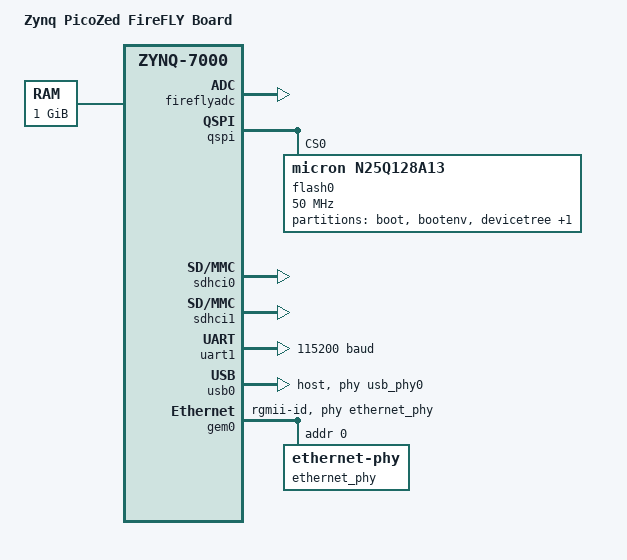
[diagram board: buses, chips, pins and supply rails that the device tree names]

/dts-v1/;
#include "zynq-7000.dtsi"


/ {
   cpus {
      cpu@0 {
         operating-points = <666666 1000000 333333 1000000>;
      };
   };
};
&gpio0 {
   emio-gpio-width = <64>;
   gpio-mask-high = <0x0>;
   gpio-mask-low = <0x5600>;
};
&intc {
   num_cpus = <2>;
   num_interrupts = <96>;
};
&qspi {
   is-dual = <0>;
   num-cs = <1>;
   status = "okay";
};
&sdhci0 {
   clock-frequency = <50000000>;
   status = "okay";
};
&sdhci1 {
   clock-frequency = <50000000>;
   status = "okay";
};
&uart1 {
   current-speed = <115200>;
   device_type = "serial";
   port-number = <0>;
   status = "okay";
};
&usb0 {
   status = "okay";
   dr_mode = "host";
   usb-phy = <&usb_phy0>;
};

/ {
usb_phy0: usb-phy {
   compatible = "usb-nop-xceiv";
   #phy-cells = <0>;
   reg = <0xe0002000 0x1000>;
   viewport = <0x170>;
   drv-vbus;
};
};

&clkc {
   fclk-enable = <0xf>;
   ps-clk-frequency = <33333333>;
};


/ {
   model = "Zynq PicoZed FireFLY Board";
   aliases {
      ethernet0 = &gem0;
      serial0 = &uart1;
      spi0 = &qspi;
   };
   chosen {
      bootargs = "console=ttyPS0,115200 earlyprintk";
   };
   memory {
      device_type = "memory";
      reg = <0x0 0x40000000>;
   };

};

&gem0 {
   local-mac-address = [00 0a 35 00 28 0b];
};

&qspi {
   #address-cells = <1>;
   #size-cells = <0>;
   flash0: flash@0 {
      compatible = "micron,n25q128a13";
      reg = <0x0>;
      #address-cells = <1>;
      #size-cells = <1>;
      spi-max-frequency = <50000000>;
      partition@0x00000000 {
         label = "boot";
         reg = <0x00000000 0x00380000>;
      };
      partition@0x00380000 {
         label = "bootenv";
         reg = <0x00380000 0x00080000>;
      };
      partition@0x00400000 {
         label = "devicetree";
         reg = <0x00400000 0x00400000>;
      };
      partition@0x00800000 {
         label = "kernel";
         reg = <0x00800000 0x00800000>;
      };
   };
};


&gem0 {
   status = "okay";
   phy-mode = "rgmii-id";
   phy-handle = <&ethernet_phy>;

   ethernet_phy: ethernet-phy@0 {
      reg = <0>;
   };
};

/ {
   amba_pl: amba_pl {
      #address-cells = <1>;
      #size-cells = <1>;
      compatible = "simple-bus";
      ranges ;
      SYS_Control_0: SYS_Control@43c00000 {
         compatible = "xlnx,SYS-Control-1.0";
         reg = <0x43c00000 0x10000>;
         xlnx,s00-axi-addr-width = <0x7>;
         xlnx,s00-axi-data-width = <0x20>;
      };
      axi_dma_adc_1: dma@40400000 {
         #dma-cells = <1>;
         compatible = "xlnx,axi-dma-1.00.a";
         interrupt-parent = <&intc>;
         interrupts = <0 29 4>;
         reg = <0x40400000 0x10000>;
         dma-channel@40400030 {
            compatible = "xlnx,axi-dma-s2mm-channel";
            dma-channels = <0x1>;
            interrupts = <0 29 4>;
            xlnx,datawidth = <0x100>;
            xlnx,device-id = <0x0>;
         };
      };
      axi_dma_adc_2: dma@40410000 {
         #dma-cells = <1>;
         compatible = "xlnx,axi-dma-1.00.a";
         interrupt-parent = <&intc>;
         interrupts = <0 30 4>;
         reg = <0x40410000 0x10000>;
         dma-channel@40410030 {
            compatible = "xlnx,axi-dma-s2mm-channel";
            dma-channels = <0x1>;
            interrupts = <0 30 4>;
            xlnx,datawidth = <0x200>;
            xlnx,device-id = <0x1>;
         };
      };
      fireflyadc: fireflyadc@0 {
         compatible ="xlnx,firefly-dma-1.00.a";
         dmas = <&axi_dma_adc_1 1 &axi_dma_adc_2 1>;
         dma-names = "fireflyadc1", "fireflyadc2";
      };
   };
};

